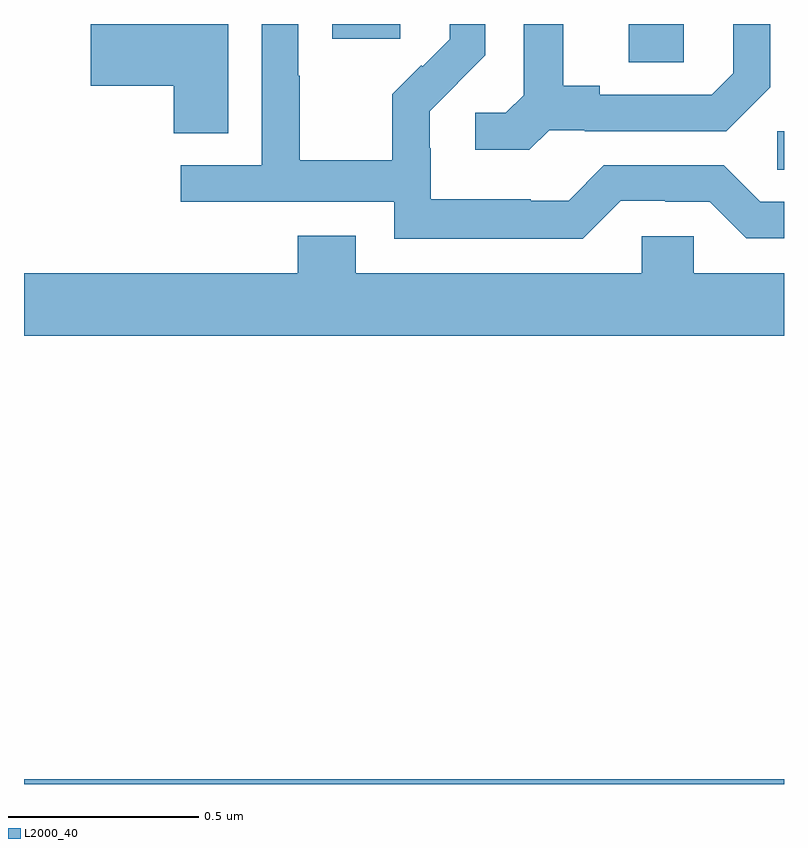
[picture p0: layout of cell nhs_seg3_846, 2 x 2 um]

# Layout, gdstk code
import gdstk
lib = gdstk.Library(unit=1e-6, precision=1e-09)
def R(c, l, rs):  # rectangles x0, y0, x1, y1
    for r in rs: c.add(gdstk.rectangle(r[:2], r[2:], *l))
def P(c, l, *ps):  # polygons
    for p in ps: c.add(gdstk.Polygon(p, *l))
L2000_40 = (2000, 40)

nhs_seg3_846 = lib.new_cell('nhs_seg3_846')
R(nhs_seg3_846, L2000_40, [(121,702.4,123,702.412), (122.982,704.017,123,704.118), (122.591,704.299,122.736,704.4), (121.811,704.361,121.99,704.4)])
P(nhs_seg3_846, L2000_40, [(121.537,704.4),(121.176,704.4),(121.176,704.237),(121.394,704.237),(121.394,704.113),(121.537,704.113)],
  [(122.382,704.121),(122.476,704.121),(122.476,704.118),(122.848,704.118),(122.964,704.234),(122.964,704.4),(122.867,704.4),(122.867,704.271),(122.81,704.214),(122.515,704.214),(122.515,704.237),(122.419,704.237),(122.419,704.4),(122.315,704.4),(122.315,704.213),(122.268,704.166),(122.187,704.166),(122.187,704.069),(122.33,704.069)],
  [(122.571,703.935),(122.687,703.935),(122.687,703.932),(122.805,703.932),(122.901,703.836),(123,703.836),(123,703.932),(122.937,703.932),(122.841,704.028),(122.526,704.028),(122.433,703.935),(122.333,703.935),(122.333,703.939),(122.07,703.939),(122.07,704.073),(122.068,704.073),(122.068,704.17),(122.142,704.244),(122.141,704.245),(122.214,704.318),(122.214,704.4),(122.12,704.4),(122.12,704.36),(122.049,704.289),(122.046,704.292),(121.969,704.215),(121.969,704.041),(121.725,704.041),(121.725,704.264),(121.722,704.264),(121.722,704.4),(121.626,704.4),(121.626,704.028),(121.413,704.028),(121.413,703.932),(121.974,703.932),(121.974,703.835),(122.471,703.835)],
  [(123,703.744),(122.763,703.744),(122.763,703.842),(122.625,703.842),(122.625,703.744),(121.873,703.744),(121.873,703.843),(121.721,703.843),(121.721,703.744),(121,703.744),(121,703.58),(123,703.58)])

lib.write_gds('nhs_seg3_846.gds')
